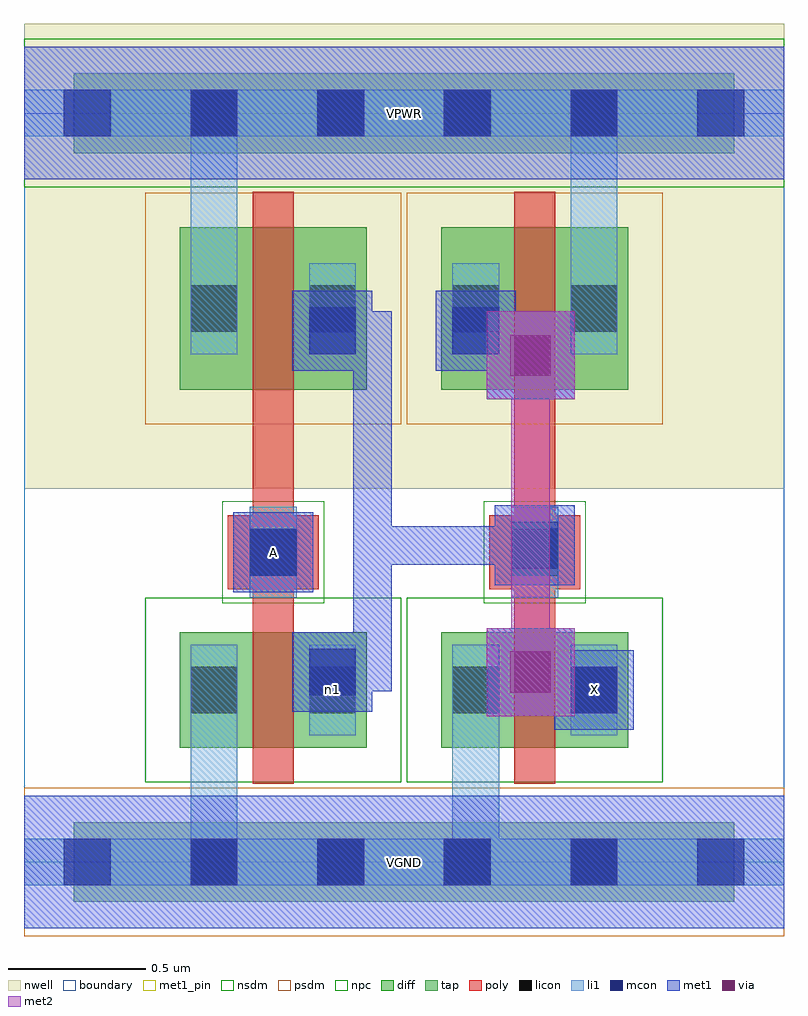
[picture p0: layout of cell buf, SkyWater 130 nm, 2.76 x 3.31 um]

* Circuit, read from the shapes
.subckt buf A VGND VPWR X n1
XM1 n1 A VGND VGND sky130_fd_pr__nfet_01v8 w=0.42 l=0.15
XM2 X n1 VGND VGND sky130_fd_pr__nfet_01v8 w=0.42 l=0.15
XM3 n1 A VPWR VPWR sky130_fd_pr__pfet_01v8 w=0.59 l=0.15
XM4 VPWR n1 X VPWR sky130_fd_pr__pfet_01v8 w=0.59 l=0.15
.ends

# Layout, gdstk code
import gdstk
lib = gdstk.Library(unit=1e-6, precision=1e-09)
def R(c, l, rs):  # rectangles x0, y0, x1, y1
    for r in rs: c.add(gdstk.rectangle(r[:2], r[2:], *l))
def A(c, l, x, y, w, h, nx, ny, dx, dy):  # array of equal rectangles
    R(c, l, [(x+i*dx, y+j*dy, x+i*dx+w, y+j*dy+h) for i in range(nx) for j in range(ny)])
nwell = (64, 20)
diff = (65, 20)
tap = (65, 44)
poly = (66, 20)
licon = (66, 44)
li1 = (67, 20)
mcon = (67, 44)
met1_pin = (68, 16)
met1 = (68, 20)
via = (68, 44)
met2 = (69, 20)
nsdm = (93, 44)
psdm = (94, 20)
npc = (95, 20)
boundary = (235, 4)

buf = lib.new_cell('buf')
R(buf, nwell, [(0,1.355,2.76,3.045)])
R(buf, diff, [(0.565,0.415,1.245,0.835), (1.515,0.415,2.195,0.835), (0.565,1.715,1.245,2.305), (1.515,1.715,2.195,2.305)])
R(buf, tap, [(0.18,-0.145,2.58,0.145), (0.18,2.575,2.58,2.865)])
R(buf, poly, [(0.83,0.285,0.98,2.435), (1.78,0.285,1.93,2.435), (0.74,0.99,1.07,1.26), (1.69,0.99,2.02,1.26)])
A(buf, licon, 0.605, -0.085, 0.17, 0.17, 4, 2, 0.46, 2.72)
R(buf, licon, [(0.605,0.54,0.775,0.71), (1.035,0.54,1.205,0.71), (1.555,0.54,1.725,0.71), (1.985,0.54,2.155,0.71), (0.82,1.04,0.99,1.21), (1.77,1.04,1.94,1.21), (0.605,1.925,0.775,2.095), (1.035,1.925,1.205,2.095), (1.555,1.925,1.725,2.095), (1.985,1.925,2.155,2.095)])
R(buf, li1, [(0,-0.085,2.76,0.085), (0.605,-0.085,0.775,0.79), (1.555,-0.085,1.725,0.79), (0.605,0.46,0.775,0.79), (1.035,0.46,1.205,0.79), (1.555,0.46,1.725,0.79), (1.985,0.46,2.155,0.79), (0.82,0.96,0.99,1.29), (1.77,0.96,1.94,1.29), (0.605,1.845,0.775,2.175), (0.605,1.845,0.775,2.805), (1.035,1.845,1.205,2.175), (1.555,1.845,1.725,2.175), (1.985,1.845,2.155,2.175), (1.985,1.845,2.155,2.805), (0,2.635,2.76,2.805)])
A(buf, mcon, 0.145, -0.085, 0.17, 0.17, 6, 2, 0.46, 2.72)
R(buf, mcon, [(1.985,0.54,2.155,0.71), (1.035,0.605,1.205,0.775), (0.82,1.04,0.99,1.21), (1.77,1.065,1.94,1.235), (1.035,1.845,1.205,2.015), (1.555,1.845,1.725,2.015)])
R(buf, met1_pin, [(0,-0.24,2.76,0.24), (1.925,0.48,2.215,0.77), (0.76,0.98,1.05,1.27), (0,2.48,2.76,2.96)])
R(buf, met1, [(0,-0.24,2.76,0.24), (1.925,0.48,2.215,0.77), (1.68,0.53,2,0.85), (0.975,0.545,1.265,0.835), (1.05,0.62,1.335,0.76), (1.195,0.62,1.335,1.22), (1.77,0.62,2.14,0.76), (2,0.62,2.14,0.76), (0.76,0.98,1.05,1.27), (1.71,1.005,2,1.295), (1.195,1.08,1.795,1.22), (1.195,1.08,1.335,1.91), (1.655,1.08,1.925,1.22), (1.68,1.68,2,2), (1.195,1.77,1.335,2), (1.77,1.77,1.91,2), (0.975,1.785,1.265,2.075), (1.495,1.785,1.785,2.075), (1.05,1.86,1.335,2), (1.57,1.86,1.91,2), (0,2.48,2.76,2.96)])
R(buf, via, [(1.765,0.615,1.915,0.765), (1.765,1.765,1.915,1.915)])
R(buf, met2, [(1.68,0.53,2,0.85), (1.77,0.62,1.91,1.91), (1.68,1.68,2,2)])
R(buf, nsdm, [(0.44,0.29,1.37,0.96), (1.39,0.29,2.32,0.96), (0,2.45,2.76,2.99)])
R(buf, psdm, [(0,-0.27,2.76,0.27), (0.44,1.59,1.37,2.43), (1.39,1.59,2.32,2.43)])
R(buf, npc, [(0.72,0.94,1.09,1.31), (1.67,0.94,2.04,1.31)])
R(buf, boundary, [(0,0,2.76,2.72)])
buf.add(gdstk.Label('n1', (1.12,0.625), layer=67, texttype=5))
buf.add(gdstk.Label('A', (0.905,1.125), layer=68, texttype=5))
buf.add(gdstk.Label('X', (2.07,0.625), layer=68, texttype=5))
buf.add(gdstk.Label('VPWR', (1.38,2.72), layer=68, texttype=5))
buf.add(gdstk.Label('VGND', (1.38,0), layer=68, texttype=5))
buf.add(gdstk.Label('A', (0.905,1.125), layer=68, texttype=16))
buf.add(gdstk.Label('X', (2.07,0.625), layer=68, texttype=16))
buf.add(gdstk.Label('VPWR', (1.38,2.72), layer=68, texttype=16))
buf.add(gdstk.Label('VGND', (1.38,0), layer=68, texttype=16))

lib.write_gds('buf.gds')
